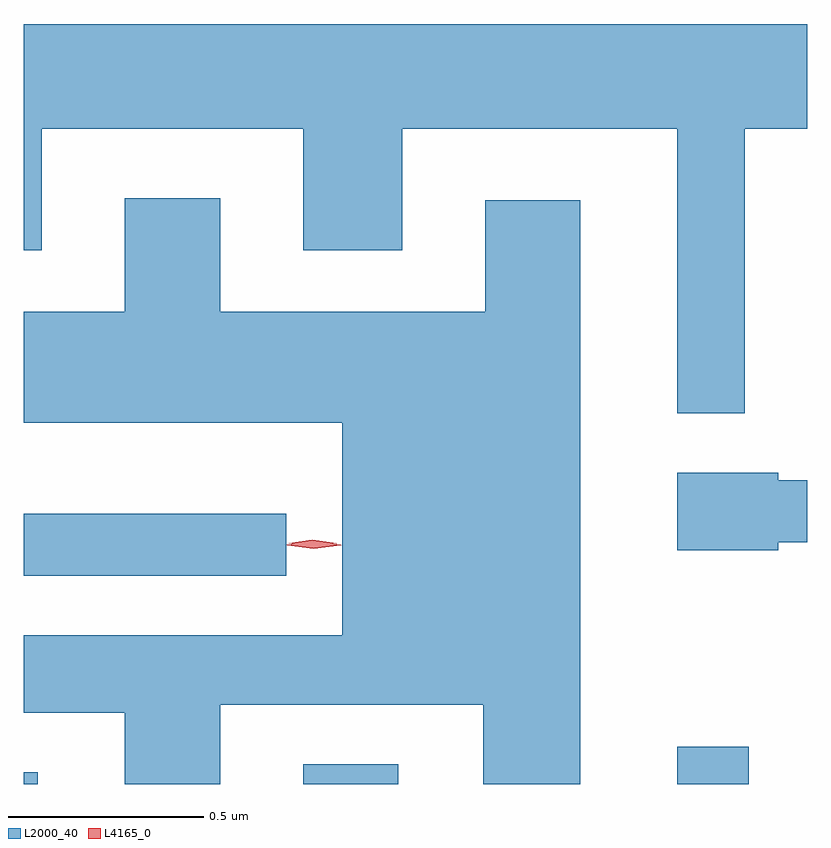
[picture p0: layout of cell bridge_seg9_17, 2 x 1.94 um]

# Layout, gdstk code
import gdstk
lib = gdstk.Library(unit=1e-6, precision=1e-09)
def R(c, l, rs):  # rectangles x0, y0, x1, y1
    for r in rs: c.add(gdstk.rectangle(r[:2], r[2:], *l))
def P(c, l, *ps):  # polygons
    for p in ps: c.add(gdstk.Polygon(p, *l))
L2000_40 = (2000, 40)
L4165_0 = (4165, 0)

bridge_seg9_17 = lib.new_cell('bridge_seg9_17')
R(bridge_seg9_17, L2000_40, [(1823.468,2023.444,1823.504,2023.474), (1824.181,2023.444,1824.424,2023.494), (1825.136,2023.444,1825.319,2023.539), (1823.468,2023.976,1824.138,2024.134)])
P(bridge_seg9_17, L2000_40, [(1825.309,2025.116),(1825.468,2025.116),(1825.468,2025.384),(1823.468,2025.384),(1823.468,2024.806),(1823.514,2024.806),(1823.514,2025.116),(1824.181,2025.116),(1824.181,2024.806),(1824.434,2024.806),(1824.434,2025.116),(1825.136,2025.116),(1825.136,2024.391),(1825.309,2024.391)],
  [(1823.969,2023.646),(1824.641,2023.646),(1824.641,2023.444),(1824.889,2023.444),(1824.889,2024.934),(1824.646,2024.934),(1824.646,2024.649),(1823.969,2024.649),(1823.969,2024.939),(1823.726,2024.939),(1823.726,2024.649),(1823.468,2024.649),(1823.468,2024.366),(1824.281,2024.366),(1824.281,2023.824),(1823.468,2023.824),(1823.468,2023.626),(1823.726,2023.626),(1823.726,2023.444),(1823.969,2023.444)],
  [(1825.394,2024.061),(1825.468,2024.061),(1825.468,2024.219),(1825.394,2024.219),(1825.394,2024.239),(1825.136,2024.239),(1825.136,2024.041),(1825.394,2024.041)])
P(bridge_seg9_17, L4165_0, [(1824.205,2024.049),(1824.144,2024.058),(1824.143,2024.058),(1824.144,2024.059),(1824.205,2024.068),(1824.267,2024.059),(1824.267,2024.059),(1824.267,2024.058)],
  [(1824.208,2024.044),(1824.14,2024.054),(1824.139,2024.055),(1824.14,2024.055),(1824.209,2024.064),(1824.277,2024.055),(1824.278,2024.054),(1824.277,2024.054)])

lib.write_gds('bridge_seg9_17.gds')
